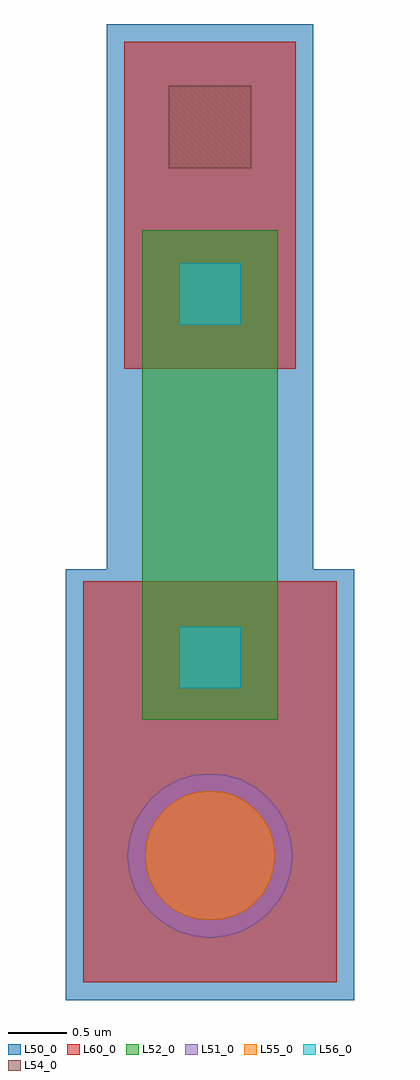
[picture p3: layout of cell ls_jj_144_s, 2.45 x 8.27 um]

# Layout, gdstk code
import gdstk
lib = gdstk.Library(unit=1e-6, precision=1e-09)
def R(c, l, rs):  # rectangles x0, y0, x1, y1
    for r in rs: c.add(gdstk.rectangle(r[:2], r[2:], *l))
def P(c, l, *ps):  # polygons
    for p in ps: c.add(gdstk.Polygon(p, *l))
L50_0 = (50, 0)
L51_0 = (51, 0)
L52_0 = (52, 0)
L54_0 = (54, 0)
L55_0 = (55, 0)
L56_0 = (56, 0)
L60_0 = (60, 0)

ls_jj_144_s = lib.new_cell('ls_jj_144_s')
R(ls_jj_144_s, L50_0, [(-1.225,-1.225,1.225,2.425), (-0.875,2.425,0.875,7.05)])
P(ls_jj_144_s, L51_0, [(0,-0.7),(0.135,-0.685),(0.265,-0.645),(0.39,-0.58),(0.495,-0.495),(0.58,-0.39),(0.645,-0.27),(0.685,-0.14),(0.7,0),(0.685,0.135),(0.645,0.265),(0.58,0.385),(0.495,0.49),(0.39,0.58),(0.265,0.645),(0.135,0.685),(0,0.695),(-0.135,0.685),(-0.265,0.645),(-0.39,0.58),(-0.495,0.49),(-0.58,0.385),(-0.645,0.265),(-0.685,0.135),(-0.7,0),(-0.685,-0.14),(-0.645,-0.27),(-0.58,-0.39),(-0.495,-0.495),(-0.39,-0.58),(-0.265,-0.645),(-0.135,-0.685)])
R(ls_jj_144_s, L52_0, [(-0.575,1.15,0.575,5.3)])
R(ls_jj_144_s, L54_0, [(-0.35,5.825,0.35,6.525)])
P(ls_jj_144_s, L55_0, [(0,-0.55),(0.11,-0.54),(0.21,-0.51),(0.31,-0.46),(0.39,-0.39),(0.46,-0.31),(0.51,-0.21),(0.54,-0.11),(0.55,0),(0.54,0.11),(0.51,0.21),(0.46,0.3),(0.39,0.39),(0.31,0.45),(0.21,0.51),(0.11,0.54),(0,0.55),(-0.11,0.54),(-0.21,0.51),(-0.31,0.45),(-0.39,0.39),(-0.46,0.3),(-0.51,0.21),(-0.54,0.11),(-0.55,0),(-0.54,-0.11),(-0.51,-0.21),(-0.46,-0.31),(-0.39,-0.39),(-0.31,-0.46),(-0.21,-0.51),(-0.11,-0.54)])
R(ls_jj_144_s, L56_0, [(-0.26,1.42,0.26,1.94), (-0.26,4.5,0.26,5.02)])
R(ls_jj_144_s, L60_0, [(-1.075,-1.075,1.075,2.325), (-0.725,4.125,0.725,6.9)])

lib.write_gds('ls_jj_144_s.gds')
